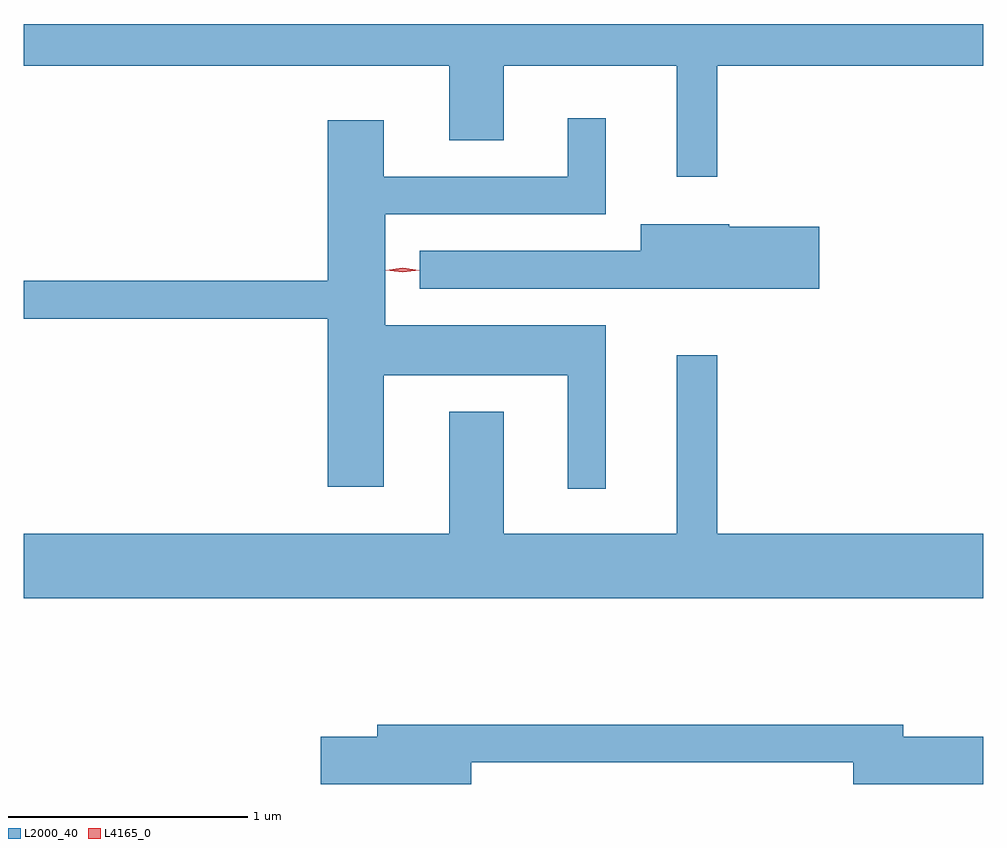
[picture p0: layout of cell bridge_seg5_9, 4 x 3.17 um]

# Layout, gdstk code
import gdstk
lib = gdstk.Library(unit=1e-6, precision=1e-09)
def P(c, l, *ps):  # polygons
    for p in ps: c.add(gdstk.Polygon(p, *l))
L2000_40 = (2000, 40)
L4165_0 = (4165, 0)

bridge_seg5_9 = lib.new_cell('bridge_seg5_9')
P(bridge_seg5_9, L2000_40, [(1728.739,1427.936),(1729.848,1427.936),(1729.848,1428.11),(1725.848,1428.11),(1725.848,1427.936),(1727.621,1427.936),(1727.621,1427.626),(1727.849,1427.626),(1727.849,1427.936),(1728.571,1427.936),(1728.571,1427.473),(1728.739,1427.473)],
  [(1728.274,1426.854),(1727.354,1426.854),(1727.354,1427.316),(1728.274,1427.316),(1728.274,1427.718),(1728.116,1427.718),(1728.116,1427.474),(1727.349,1427.474),(1727.349,1427.709),(1727.116,1427.709),(1727.116,1427.039),(1725.848,1427.039),(1725.848,1426.881),(1727.116,1426.881),(1727.116,1426.181),(1727.349,1426.181),(1727.349,1426.646),(1728.116,1426.646),(1728.116,1426.173),(1728.274,1426.173)],
  [(1729.164,1427.264),(1728.79,1427.264),(1728.79,1427.274),(1728.421,1427.274),(1728.421,1427.164),(1727.498,1427.164),(1727.498,1427.006),(1729.164,1427.006)],
  [(1729.848,1425.984),(1728.739,1425.984),(1728.739,1426.728),(1728.571,1426.728),(1728.571,1425.984),(1727.849,1425.984),(1727.849,1426.494),(1727.621,1426.494),(1727.621,1425.984),(1725.848,1425.984),(1725.848,1425.716),(1729.848,1425.716)],
  [(1727.714,1425.031),(1729.306,1425.031),(1729.306,1424.941),(1729.848,1424.941),(1729.848,1425.139),(1729.514,1425.139),(1729.514,1425.189),(1727.321,1425.189),(1727.321,1425.139),(1727.086,1425.139),(1727.086,1424.941),(1727.714,1424.941)])
P(bridge_seg5_9, L4165_0, [(1727.427,1427.074),(1727.357,1427.083),(1727.357,1427.084),(1727.357,1427.084),(1727.427,1427.094),(1727.496,1427.084),(1727.496,1427.084),(1727.496,1427.083)],
  [(1727.427,1427.074),(1727.362,1427.083),(1727.361,1427.084),(1727.362,1427.084),(1727.427,1427.094),(1727.492,1427.084),(1727.493,1427.084),(1727.492,1427.083)])

lib.write_gds('bridge_seg5_9.gds')
